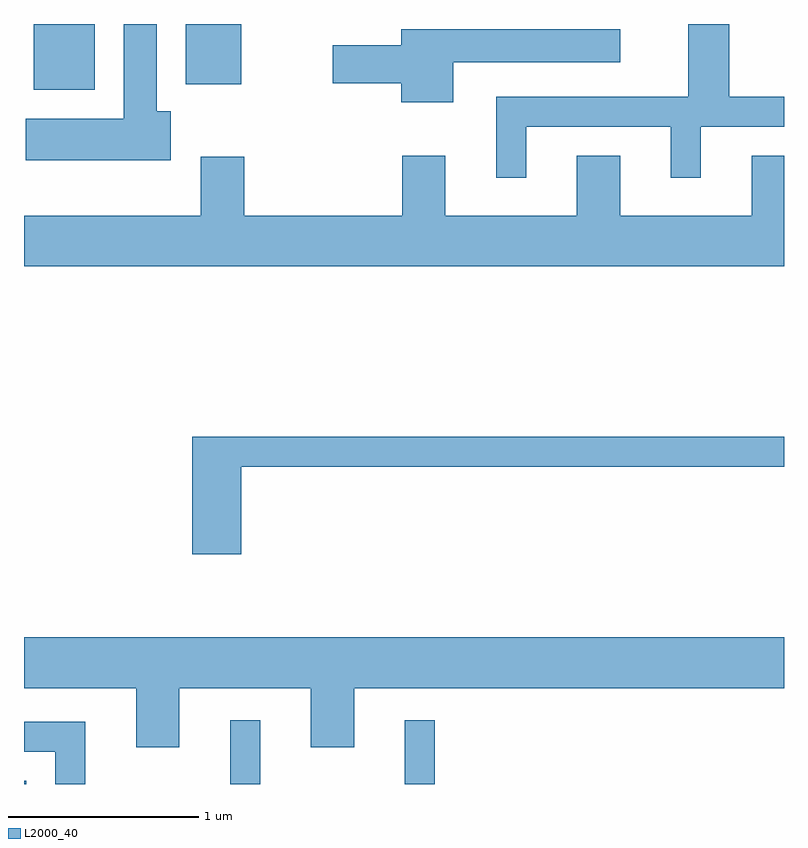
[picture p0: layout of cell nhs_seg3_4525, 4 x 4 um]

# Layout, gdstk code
import gdstk
lib = gdstk.Library(unit=1e-6, precision=1e-09)
def R(c, l, rs):  # rectangles x0, y0, x1, y1
    for r in rs: c.add(gdstk.rectangle(r[:2], r[2:], *l))
def P(c, l, *ps):  # polygons
    for p in ps: c.add(gdstk.Polygon(p, *l))
L2000_40 = (2000, 40)

nhs_seg3_4525 = lib.new_cell('nhs_seg3_4525')
R(nhs_seg3_4525, L2000_40, [(317.611,1189.892,317.624,1189.909), (318.696,1189.892,318.854,1190.228), (319.616,1189.892,319.774,1190.228), (317.661,1193.546,317.984,1193.892), (318.461,1193.576,318.754,1193.892)])
P(nhs_seg3_4525, L2000_40, [(318.384,1193.434),(318.309,1193.434),(318.309,1193.892),(318.136,1193.892),(318.136,1193.394),(317.621,1193.394),(317.621,1193.176),(318.384,1193.176)],
  [(320.254,1193.351),(321.016,1193.351),(321.016,1193.083),(321.174,1193.083),(321.174,1193.351),(321.611,1193.351),(321.611,1193.509),(321.324,1193.509),(321.324,1193.892),(321.106,1193.892),(321.106,1193.509),(320.096,1193.509),(320.096,1193.083),(320.254,1193.083)],
  [(319.869,1193.691),(320.749,1193.691),(320.749,1193.864),(319.596,1193.864),(319.596,1193.779),(319.236,1193.779),(319.236,1193.581),(319.596,1193.581),(319.596,1193.481),(319.869,1193.481)],
  [(321.611,1193.199),(321.441,1193.199),(321.441,1192.884),(320.749,1192.884),(320.749,1193.199),(320.521,1193.199),(320.521,1192.884),(319.829,1192.884),(319.829,1193.199),(319.601,1193.199),(319.601,1192.884),(318.769,1192.884),(318.769,1193.194),(318.541,1193.194),(318.541,1192.884),(317.611,1192.884),(317.611,1192.616),(321.611,1192.616)],
  [(318.754,1191.561),(321.611,1191.561),(321.611,1191.719),(318.496,1191.719),(318.496,1191.101),(318.754,1191.101)],
  [(318.429,1190.396),(319.121,1190.396),(319.121,1190.086),(319.349,1190.086),(319.349,1190.396),(321.611,1190.396),(321.611,1190.664),(317.611,1190.664),(317.611,1190.396),(318.201,1190.396),(318.201,1190.086),(318.429,1190.086)],
  [(317.934,1190.219),(317.611,1190.219),(317.611,1190.061),(317.776,1190.061),(317.776,1189.892),(317.934,1189.892)])

lib.write_gds('nhs_seg3_4525.gds')
